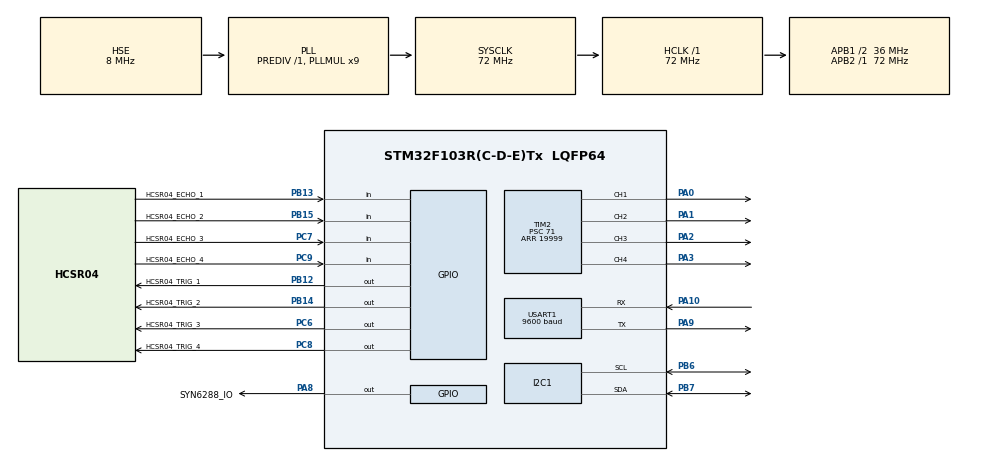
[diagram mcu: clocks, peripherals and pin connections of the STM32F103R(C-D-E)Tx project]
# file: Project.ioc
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Dma.Request0=USART1_RX
Dma.Request1=USART1_TX
Dma.USART1_RX.0.Direction=DMA_PERIPH_TO_MEMORY
Dma.USART1_RX.0.Instance=DMA1_Channel5
Dma.USART1_RX.0.MemDataAlignment=DMA_MDATAALIGN_BYTE
Dma.USART1_RX.0.MemInc=DMA_MINC_ENABLE
Dma.USART1_RX.0.Mode=DMA_NORMAL
Dma.USART1_RX.0.PeriphDataAlignment=DMA_PDATAALIGN_BYTE
Dma.USART1_RX.0.PeriphInc=DMA_PINC_DISABLE
Dma.USART1_RX.0.Priority=DMA_PRIORITY_LOW
Dma.USART1_TX.1.Direction=DMA_MEMORY_TO_PERIPH
Dma.USART1_TX.1.Instance=DMA1_Channel4
Dma.USART1_TX.1.MemDataAlignment=DMA_MDATAALIGN_BYTE
Dma.USART1_TX.1.MemInc=DMA_MINC_ENABLE
Dma.USART1_TX.1.Mode=DMA_NORMAL
Dma.USART1_TX.1.PeriphDataAlignment=DMA_PDATAALIGN_BYTE
Dma.USART1_TX.1.PeriphInc=DMA_PINC_DISABLE
Dma.USART1_TX.1.Priority=DMA_PRIORITY_LOW
Mcu.Family=STM32F1
Mcu.Name=STM32F103R(C-D-E)Tx
Mcu.Package=LQFP64
NVIC.DMA1_Channel4_IRQn=true\:0\:0\:false\:false\:true\:false\:true\:true
NVIC.DMA1_Channel5_IRQn=true\:0\:0\:false\:false\:true\:false\:true\:true
NVIC.PriorityGroup=NVIC_PRIORITYGROUP_4
PA0-WKUP.Signal=S_TIM2_CH1_ETR
PA1.Signal=S_TIM2_CH2
PA10.Mode=Asynchronous
PA10.Signal=USART1_RX
PA13.Mode=Serial_Wire
PA13.Signal=SYS_JTMS-SWDIO
PA14.Mode=Serial_Wire
PA14.Signal=SYS_JTCK-SWCLK
PA2.Signal=S_TIM2_CH3
PA3.Signal=S_TIM2_CH4
PA8.GPIO_Label=SYN6288_IO
PA8.GPIO_PuPd=GPIO_PULLDOWN
PA8.GPIO_Speed=GPIO_SPEED_FREQ_HIGH
PA8.Signal=GPIO_Output
PA9.Mode=Asynchronous
PA9.Signal=USART1_TX
PB12.GPIO_Label=HCSR04_TRIG_1
PB12.GPIO_PuPd=GPIO_PULLDOWN
PB12.GPIO_Speed=GPIO_SPEED_FREQ_HIGH
PB12.Signal=GPIO_Output
PB13.GPIO_Label=HCSR04_ECHO_1
PB13.Signal=GPIO_Input
PB14.GPIO_Label=HCSR04_TRIG_2
PB14.GPIO_PuPd=GPIO_PULLDOWN
PB14.GPIO_Speed=GPIO_SPEED_FREQ_HIGH
PB14.Signal=GPIO_Output
PB15.GPIO_Label=HCSR04_ECHO_2
PB15.Signal=GPIO_Input
PB6.Mode=I2C
PB6.Signal=I2C1_SCL
PB7.Mode=I2C
PB7.Signal=I2C1_SDA
PC14-OSC32_IN.Mode=LSE-External-Oscillator
PC14-OSC32_IN.Signal=RCC_OSC32_IN
PC15-OSC32_OUT.Mode=LSE-External-Oscillator
PC15-OSC32_OUT.Signal=RCC_OSC32_OUT
PC6.GPIO_Label=HCSR04_TRIG_3
PC6.GPIO_PuPd=GPIO_PULLDOWN
PC6.GPIO_Speed=GPIO_SPEED_FREQ_HIGH
PC6.Signal=GPIO_Output
PC7.GPIO_Label=HCSR04_ECHO_3
PC7.Signal=GPIO_Input
PC8.GPIO_Label=HCSR04_TRIG_4
PC8.GPIO_PuPd=GPIO_PULLDOWN
PC8.GPIO_Speed=GPIO_SPEED_FREQ_HIGH
PC8.Signal=GPIO_Output
PC9.GPIO_Label=HCSR04_ECHO_4
PC9.Signal=GPIO_Input
PD0-OSC_IN.Mode=HSE-External-Oscillator
PD0-OSC_IN.Signal=RCC_OSC_IN
PD1-OSC_OUT.Mode=HSE-External-Oscillator
PD1-OSC_OUT.Signal=RCC_OSC_OUT
ProjectManager.HeapSize=0x200
ProjectManager.StackSize=0x400
ProjectManager.TargetToolchain=MDK-ARM V5.32
RCC.AHBFreq_Value=72000000
RCC.APB1CLKDivider=RCC_HCLK_DIV2
RCC.APB1Freq_Value=36000000
RCC.APB1TimFreq_Value=72000000
RCC.APB2Freq_Value=72000000
RCC.APB2TimFreq_Value=72000000
RCC.HCLKFreq_Value=72000000
RCC.PLLMUL=RCC_PLL_MUL9
RCC.PLLSourceVirtual=RCC_PLLSOURCE_HSE
RCC.SYSCLKFreq_VALUE=72000000
RCC.SYSCLKSource=RCC_SYSCLKSOURCE_PLLCLK
RCC.USBFreq_Value=72000000
SH.S_TIM2_CH1_ETR.0=TIM2_CH1,PWM Generation1 CH1
SH.S_TIM2_CH2.0=TIM2_CH2,PWM Generation2 CH2
SH.S_TIM2_CH3.0=TIM2_CH3,PWM Generation3 CH3
SH.S_TIM2_CH4.0=TIM2_CH4,PWM Generation4 CH4
TIM1.Prescaler=71
TIM2.Channel-PWM\ Generation1\ CH1=TIM_CHANNEL_1
TIM2.Channel-PWM\ Generation2\ CH2=TIM_CHANNEL_2
TIM2.Channel-PWM\ Generation3\ CH3=TIM_CHANNEL_3
TIM2.Channel-PWM\ Generation4\ CH4=TIM_CHANNEL_4
TIM2.Period=19999
TIM2.Prescaler=71
TIM2.Pulse-PWM\ Generation1\ CH1=500
TIM2.Pulse-PWM\ Generation2\ CH2=500
TIM2.Pulse-PWM\ Generation3\ CH3=500
TIM2.Pulse-PWM\ Generation4\ CH4=500
USART1.BaudRate=9600
USART1.VirtualMode=VM_ASYNC
VP_TIM1_VS_ClockSourceINT.Mode=Internal
VP_TIM2_VS_ClockSourceINT.Mode=Internal
board=custom

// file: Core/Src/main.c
/* USER CODE BEGIN Header */
/**
  ******************************************************************************
  * @file           : main.c
  * @brief          : Main program body
  ******************************************************************************
  * @attention
  *
  * Copyright (c) 2023 STMicroelectronics.
  * All rights reserved.
  *
  * This software is licensed under terms that can be found in the LICENSE file
  * in the root directory of this software component.
  * If no LICENSE file comes with this software, it is provided AS-IS.
  *
  ******************************************************************************
  */
/* USER CODE END Header */
#include "main.h"
#include "dma.h"
#include "i2c.h"
#include "tim.h"
#include "usart.h"
#include "gpio.h"

/* USER CODE BEGIN Includes */
#include "oled.h"
#include "hcsr04.h"
/* USER CODE END Includes */

void SystemClock_Config(void);

int main(void)
{
  /* USER CODE BEGIN 1 */
	uint8_t x = 0;
	uint8_t y = 0;
	double distanceValue_1 = 0;
	uint8_t distanceValue_1_Integer = 0;
	uint8_t distanceValue_1_Decimal = 0;
	double distanceValue_2 = 0;
	uint8_t distanceValue_2_Integer = 0;
	uint8_t distanceValue_2_Decimal = 0;
	double distanceValue_3 = 0;
	uint8_t distanceValue_3_Integer = 0;
	uint8_t distanceValue_3_Decimal = 0;
	double distanceValue_4 = 0;
	uint8_t distanceValue_4_Integer = 0;
	uint8_t distanceValue_4_Decimal = 0;
	uint8_t rxBuffer[1] = {'0'};
	uint8_t distanceLimitValue = 4;
  /* USER CODE END 1 */

  /* MCU Configuration--------------------------------------------------------*/

  /* Reset of all peripherals, Initializes the Flash interface and the Systick. */
  HAL_Init();

  /* Configure the system clock */
  SystemClock_Config();

  /* Initialize all configured peripherals */
  MX_GPIO_Init();
  MX_DMA_Init();
  MX_I2C1_Init();
  MX_TIM1_Init();
  MX_USART1_UART_Init();
  MX_TIM2_Init();
  /* USER CODE BEGIN 2 */
	OLED_Init();
	OLED_Clear();
	OLED_ShowChinese(x + 16 * 0, y + 2 * 0, 0);
	OLED_ShowChinese(x + 16 * 1, y + 2 * 0, 1);
	OLED_ShowChinese(x + 16 * 2, y + 2 * 0, 2);
	OLED_ShowChar(x + 16 * 3 + 8 * 0, y + 2 * 0, '1', 16);
	OLED_ShowChar(x + 16 * 3 + 8 * 1, y + 2 * 0, ':', 16);
	OLED_ShowChinese(x + 16 * 0, y + 2 * 1, 0);
	OLED_ShowChinese(x + 16 * 1, y + 2 * 1, 1);
	OLED_ShowChinese(x + 16 * 2, y + 2 * 1, 2);
	OLED_ShowChar(x + 16 * 3 + 8 * 0, y + 2 * 1, '2', 16);
	OLED_ShowChar(x + 16 * 3 + 8 * 1, y + 2 * 1, ':', 16);
	OLED_ShowChinese(x + 16 * 0, y + 2 * 2, 0);
	OLED_ShowChinese(x + 16 * 1, y + 2 * 2, 1);
	OLED_ShowChinese(x + 16 * 2, y + 2 * 2, 2);
	OLED_ShowChar(x + 16 * 3 + 8 * 0, y + 2 * 2, '3', 16);
	OLED_ShowChar(x + 16 * 3 + 8 * 1, y + 2 * 2, ':', 16);
	OLED_ShowChinese(x + 16 * 0, y + 2 * 3, 0);
	OLED_ShowChinese(x + 16 * 1, y + 2 * 3, 1);
	OLED_ShowChinese(x + 16 * 2, y + 2 * 3, 2);
	OLED_ShowChar(x + 16 * 3 + 8 * 0, y + 2 * 3, '4', 16);
	OLED_ShowChar(x + 16 * 3 + 8 * 1, y + 2 * 3, ':', 16);

	HAL_TIM_PWM_Start(&htim2, TIM_CHANNEL_1);
	HAL_TIM_PWM_Start(&htim2, TIM_CHANNEL_2);
	HAL_TIM_PWM_Start(&htim2, TIM_CHANNEL_3);
	HAL_TIM_PWM_Start(&htim2, TIM_CHANNEL_4);
	__HAL_TIM_SET_COMPARE(&htim2, TIM_CHANNEL_1, 500);
	__HAL_TIM_SET_COMPARE(&htim2, TIM_CHANNEL_2, 500);
	__HAL_TIM_SET_COMPARE(&htim2, TIM_CHANNEL_3, 500);
	__HAL_TIM_SET_COMPARE(&htim2, TIM_CHANNEL_4, 500);
  /* USER CODE END 2 */

  /* Infinite loop */
  /* USER CODE BEGIN WHILE */
  while (1)
  {
		HAL_UART_Receive_DMA(&huart1, rxBuffer, 1);

		distanceValue_1 = HCSR04_1_GetDistance_Repeatedly(5);
		distanceValue_1_Integer = (int)distanceValue_1;
		distanceValue_1_Decimal = 10 * (distanceValue_1 - distanceValue_1_Integer);

		OLED_ShowNum(x + 16 * 3 + 8 * 2, y + 2 * 0, distanceValue_1_Integer, 2, 16);
		OLED_ShowChar(x + 16 * 3 + 8 * 4, y + 2 * 0, '.', 16);
		OLED_ShowNum(x + 16 * 3 + 8 * 5, y + 2 * 0, distanceValue_1_Decimal, 1, 16);
		OLED_ShowChar(x + 16 * 3 + 8 * 6, y + 2 * 0, 'c', 16);
		OLED_ShowChar(x + 16 * 3 + 8 * 7, y + 2 * 0, 'm', 16);

		distanceValue_2 = HCSR04_2_GetDistance_Repeatedly(5);
		distanceValue_2_Integer = (int)distanceValue_2;
		distanceValue_2_Decimal = 10 * (distanceValue_2 - distanceValue_2_Integer);

		OLED_ShowNum(x + 16 * 3 + 8 * 2, y + 2 * 1, distanceValue_2_Integer, 2, 16);
		OLED_ShowChar(x + 16 * 3 + 8 * 4, y + 2 * 1, '.', 16);
		OLED_ShowNum(x + 16 * 3 + 8 * 5, y + 2 * 1, distanceValue_2_Decimal, 1, 16);
		OLED_ShowChar(x + 16 * 3 + 8 * 6, y + 2 * 1, 'c', 16);
		OLED_ShowChar(x + 16 * 3 + 8 * 7, y + 2 * 1, 'm', 16);

		distanceValue_3 = HCSR04_3_GetDistance_Repeatedly(5);
		distanceValue_3_Integer = (int)distanceValue_3;
		distanceValue_3_Decimal = 10 * (distanceValue_3 - distanceValue_3_Integer);

		OLED_ShowNum(x + 16 * 3 + 8 * 2, y + 2 * 2, distanceValue_3_Integer, 2, 16);
		OLED_ShowChar(x + 16 * 3 + 8 * 4, y + 2 * 2, '.', 16);
		OLED_ShowNum(x + 16 * 3 + 8 * 5, y + 2 * 2, distanceValue_3_Decimal, 1, 16);
		OLED_ShowChar(x + 16 * 3 + 8 * 6, y + 2 * 2, 'c', 16);
		OLED_ShowChar(x + 16 * 3 + 8 * 7, y + 2 * 2, 'm', 16);

		distanceValue_4 = HCSR04_4_GetDistance_Repeatedly(5);
		distanceValue_4_Integer = (int)distanceValue_4;
		distanceValue_4_Decimal = 10 * (distanceValue_4 - distanceValue_4_Integer);

		OLED_ShowNum(x + 16 * 3 + 8 * 2, y + 2 * 3, distanceValue_4_Integer, 2, 16);
		OLED_ShowChar(x + 16 * 3 + 8 * 4, y + 2 * 3, '.', 16);
		OLED_ShowNum(x + 16 * 3 + 8 * 5, y + 2 * 3, distanceValue_4_Decimal, 1, 16);
		OLED_ShowChar(x + 16 * 3 + 8 * 6, y + 2 * 3, 'c', 16);
		OLED_ShowChar(x + 16 * 3 + 8 * 7, y + 2 * 3, 'm', 16);

		switch(rxBuffer[0])
		{
			case '1':
				printf("可回收垃圾\n");
			break;
			case '2':
				printf("可回收垃圾\n");
			break;
			case '3':
				printf("厨余垃圾\n");
			break;
			case '4':
				printf("厨余垃圾\n");
			break;
			case '5':
				printf("有害垃圾\n");
			break;
			case '6':
				printf("有害垃圾\n");
			break;
			case '7':
				printf("其他垃圾\n");
			break;
			case '8':
				printf("其他垃圾\n");
			break;
			default:
				;
			break;
		}

		if (distanceValue_1 > distanceLimitValue)
		{
			__HAL_TIM_SET_COMPARE(&htim2, TIM_CHANNEL_1, (int)2000 * 100 / 180);
		}
		else if (distanceValue_1 < distanceLimitValue)
		{
			__HAL_TIM_SET_COMPARE(&htim2, TIM_CHANNEL_1, 500);
			HAL_GPIO_WritePin(SYN6288_IO_GPIO_Port, SYN6288_IO_Pin, GPIO_PIN_SET);
		}

		if (distanceValue_2 > distanceLimitValue)
		{
			__HAL_TIM_SET_COMPARE(&htim2, TIM_CHANNEL_2, (int)2000 * 100 / 180);
		}
		else if (distanceValue_2 < distanceLimitValue)
		{
			__HAL_TIM_SET_COMPARE(&htim2, TIM_CHANNEL_2, 500);
			HAL_GPIO_WritePin(SYN6288_IO_GPIO_Port, SYN6288_IO_Pin, GPIO_PIN_SET);
		}

		if (distanceValue_3 > distanceLimitValue)
		{
			__HAL_TIM_SET_COMPARE(&htim2, TIM_CHANNEL_3, (int)2000 * 100 / 180);
		}
		else if (distanceValue_3 < distanceLimitValue)
		{
			__HAL_TIM_SET_COMPARE(&htim2, TIM_CHANNEL_3, 500);
			HAL_GPIO_WritePin(SYN6288_IO_GPIO_Port, SYN6288_IO_Pin, GPIO_PIN_SET);
		}

		if (distanceValue_4 > distanceLimitValue)
		{
			__HAL_TIM_SET_COMPARE(&htim2, TIM_CHANNEL_4, (int)2000 * 100 / 180);
		}
		else if (distanceValue_4 < distanceLimitValue)
		{
			__HAL_TIM_SET_COMPARE(&htim2, TIM_CHANNEL_4, 500);
			HAL_GPIO_WritePin(SYN6288_IO_GPIO_Port, SYN6288_IO_Pin, GPIO_PIN_SET);
		}

    HAL_Delay(1000);
    /* USER CODE END WHILE */

  }
}

void SystemClock_Config(void)
{
  RCC_OscInitTypeDef RCC_OscInitStruct = {0};
  RCC_ClkInitTypeDef RCC_ClkInitStruct = {0};

  /** Initializes the RCC Oscillators according to the specified parameters
  * in the RCC_OscInitTypeDef structure.
  */
  RCC_OscInitStruct.OscillatorType = RCC_OSCILLATORTYPE_HSE;
  RCC_OscInitStruct.HSEState = RCC_HSE_ON;
  RCC_OscInitStruct.HSEPredivValue = RCC_HSE_PREDIV_DIV1;
  RCC_OscInitStruct.HSIState = RCC_HSI_ON;
  RCC_OscInitStruct.PLL.PLLState = RCC_PLL_ON;
  RCC_OscInitStruct.PLL.PLLSource = RCC_PLLSOURCE_HSE;
  RCC_OscInitStruct.PLL.PLLMUL = RCC_PLL_MUL9;
  if (HAL_RCC_OscConfig(&RCC_OscInitStruct) != HAL_OK)
  {
    Error_Handler();
  }

  /** Initializes the CPU, AHB and APB buses clocks
  */
  RCC_ClkInitStruct.ClockType = RCC_CLOCKTYPE_HCLK|RCC_CLOCKTYPE_SYSCLK
                              |RCC_CLOCKTYPE_PCLK1|RCC_CLOCKTYPE_PCLK2;
  RCC_ClkInitStruct.SYSCLKSource = RCC_SYSCLKSOURCE_PLLCLK;
  RCC_ClkInitStruct.AHBCLKDivider = RCC_SYSCLK_DIV1;
  RCC_ClkInitStruct.APB1CLKDivider = RCC_HCLK_DIV2;
  RCC_ClkInitStruct.APB2CLKDivider = RCC_HCLK_DIV1;

  if (HAL_RCC_ClockConfig(&RCC_ClkInitStruct, FLASH_LATENCY_2) != HAL_OK)
  {
    Error_Handler();
  }
}

void Error_Handler(void)
{
  __disable_irq();
  while (1)
  {
  }
}
